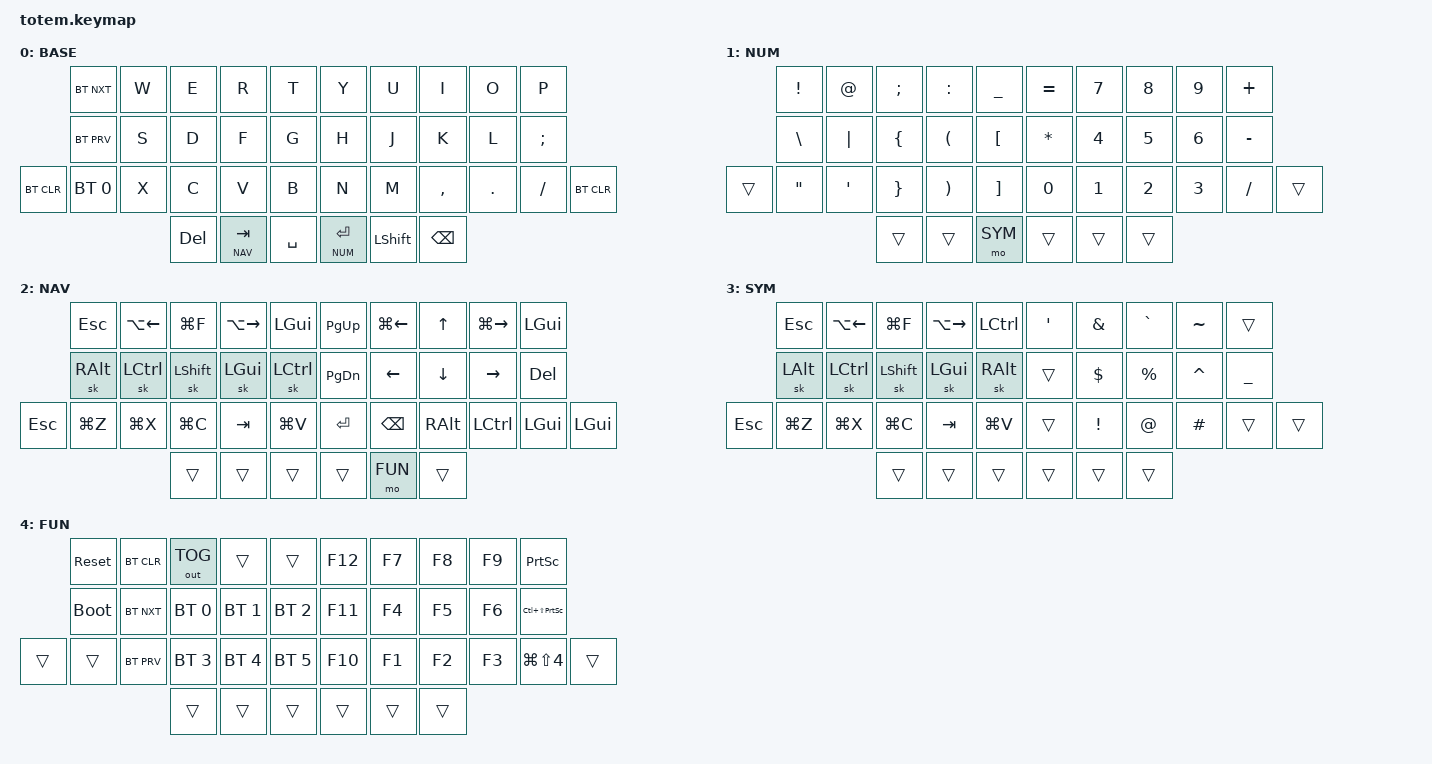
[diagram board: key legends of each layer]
//
//                                                        ▀▀▀▀▀     ▀▀▀▀▀          ▀▀█▀▀
//                                                        ▄▀▀▀▄  ▄  ▄▀▀▀▄  ▄  ▄▀▀▀▄  █  ▄▀▀▀▄
//                                                        █   █  █  █   █  █  █   █  █  █   █
//                                                         ▀▀▀   █   ▀▀▀   █   ▀▀▀   ▀   ▀▀▀
//                                                               █      ▄▄▄█▄▄▄    █   █  
//                                                               ▀      █  █  █     █▄█
//                                                             ▀▀▀▀▀    █  █  █      ▀
//                                                                      ▀  ▀  ▀
//
// ▄▄▄▄▄▄▄▄▄▄▄▄▄▄▄▄▄▄▄▄▄▄▄▄▄▄▄▄▄▄▄▄▄▄▄▄▄▄▄▄▄▄▄▄▄▄▄▄▄▄▄▄▄▄▄▄▄▄▄▄▄▄▄▄▄▄▄▄▄▄▄▄▄▄▄▄▄▄▄▄▄▄▄▄▄▄▄▄▄▄▄▄▄▄▄▄▄▄▄▄▄▄▄▄▄▄▄▄▄▄▄▄▄▄▄▄▄▄▄▄▄▄▄▄▄▄▄▄▄▄▄▄▄▄▄▄▄▄▄▄▄▄▄▄▄▄▄▄▄
       

#include <behaviors.dtsi>
#include <dt-bindings/zmk/keys.h>
#include <dt-bindings/zmk/bt.h>
#include <dt-bindings/zmk/outputs.h>

#define BASE 0
#define NUM  1
#define NAV  2
#define SYM  3
#define FUN  4

&mt {
  quick-tap-ms = <100>;
  global-quick-tap;
  flavor = "tap-preferred";
  tapping-term-ms = <170>;
};

/ {
    combos {
            compatible = "zmk,combos";
            combo_esc {
                timeout-ms = <50>;
                key-positions = <0 1>;
                bindings = <&kp ESC>;
            };
    };

    macros {
        gif: gif {
            label = "giphy";
            compatible = "zmk,behavior-macro";
            #binding-cells = <0>;
            bindings
                = <&macro_press &kp LSHFT>
                , <&macro_tap &kp N2>
                , <&macro_release &kp LSHFT>
                , <&macro_tap &kp G &kp I &kp F>
                ;
        };
    };

        keymap {
                compatible = "zmk,keymap";
// ▄▄▄▄▄▄▄▄▄▄▄▄▄▄▄▄▄▄▄▄▄▄▄▄▄▄▄▄▄▄▄▄▄▄▄▄▄▄▄▄▄▄▄▄▄▄▄▄▄▄▄▄▄▄▄▄▄▄▄▄▄▄▄▄▄▄▄▄▄▄▄▄▄▄▄▄▄▄▄▄▄▄▄▄▄▄▄▄▄▄▄▄▄▄▄▄▄▄▄▄▄▄▄▄▄▄▄▄▄▄▄▄▄▄▄▄▄▄▄▄▄▄▄▄▄▄▄▄▄▄▄▄▄▄▄▄▄▄▄▄▄▄▄▄▄▄▄▄▄

                base_layer {
// ┏━━━━━━━━━━━━━━━━━━━━━━━━━━━━━━━━━━━━━━━┓
label= "BASE"                              ;
// ┗━━━━━━━━━━━━━━━━━━━━━━━━━━━━━━━━━━━━━━━┛
//             ┏━━━━━━━━━━━┳━━━━━━━━━━━┳━━━━━━━━━━━┳━━━━━━━━━━━┳━━━━━━━━━━━┓   ┏━━━━━━━━━━━┳━━━━━━━━━━━┳━━━━━━━━━━━┳━━━━━━━━━━━┳━━━━━━━━━━━┓
//             ┃     Q     ┃     W     ┃     E     ┃     R     ┃     T     ┃   ┃     Y     ┃     U     ┃     I     ┃     O     ┃     P     ┃
//             ┣━━━━━━━━━━━╋━━━━━━━━━━━╋━━━━━━━━━━━╋━━━━━━━━━━━╋━━━━━━━━━━━┫   ┣━━━━━━━━━━━╋━━━━━━━━━━━╋━━━━━━━━━━━╋━━━━━━━━━━━╋━━━━━━━━━━━┫
//             ┃     A     ┃     S     ┃     D     ┃     F     ┃     G     ┃   ┃     H     ┃     J     ┃     K     ┃     L     ┃     ;     ┃
// ┏━━━━━━━━━━━╋━━━━━━━━━━━╋━━━━━━━━━━━╋━━━━━━━━━━━╋━━━━━━━━━━━╋━━━━━━━━━━━┫   ┣━━━━━━━━━━━╋━━━━━━━━━━━╋━━━━━━━━━━━╋━━━━━━━━━━━╋━━━━━━━━━━━╋━━━━━━━━━━━┓
// ┃     Q     ┃     Z     ┃     X     ┃     C     ┃     V     ┃     B     ┃   ┃     N     ┃     M     ┃     ,     ┃     .     ┃     /     ┃     \     ┃
// ┗━━━━━━━━━━━┻━━━━━━━━━━━┻━━━━━━━━━━━╋━━━━━━━━━━━╋━━━━━━━━━━━╋━━━━━━━━━━━┫   ┣━━━━━━━━━━━╋━━━━━━━━━━━╋━━━━━━━━━━━╋━━━━━━━━━━━┻━━━━━━━━━━━┻━━━━━━━━━━━┛
//                                     ┃    DEL    ┃    TAB    ┃    SPC    ┃   ┃   ENTER   ┃   SHIFT   ┃   BSPC    ┃
//                                     ┗━━━━━━━━━━━┻━━━━━━━━━━━┻━━━━━━━━━━━┛   ┗━━━━━━━━━━━┻━━━━━━━━━━━┻━━━━━━━━━━━┛
 bindings = <
// ╷           ╷           ╷           ╷           ╷           ╷           ╷   ╷           ╷           ╷           ╷           ╷           ╷           ╷

                &bt BT_NXT       &kp W       &kp E       &kp R       &kp T           &kp Y       &kp U       &kp I       &kp O       &kp P
                &bt BT_PRV       &kp S       &kp D       &kp F       &kp G           &kp H       &kp J       &kp K       &kp L       &kp SEMI
    &bt BT_CLR  &bt BT_SEL 0       &kp X       &kp C       &kp V       &kp B           &kp N       &kp M       &kp COMMA   &kp DOT     &kp FSLH    &bt BT_CLR
                                        &kp DEL   &lt NAV TAB   &kp SPACE       &lt NUM RET &kp LSHFT  &kp BSPC
                        >;
                };

// ▄▄▄▄▄▄▄▄▄▄▄▄▄▄▄▄▄▄▄▄▄▄▄▄▄▄▄▄▄▄▄▄▄▄▄▄▄▄▄▄▄▄▄▄▄▄▄▄▄▄▄▄▄▄▄▄▄▄▄▄▄▄▄▄▄▄▄▄▄▄▄▄▄▄▄▄▄▄▄▄▄▄▄▄▄▄▄▄▄▄▄▄▄▄▄▄▄▄▄▄▄▄▄▄▄▄▄▄▄▄▄▄▄▄▄▄▄▄▄▄▄▄▄▄▄▄▄▄▄▄▄▄▄▄▄▄▄▄▄▄▄▄▄▄▄▄▄▄▄


                num_layer {
// ┏━━━━━━━━━━━━━━━━━━━━━━━━━━━━━━━━━━━━━━━┓
label= "NUM"                               ;
// ┗━━━━━━━━━━━━━━━━━━━━━━━━━━━━━━━━━━━━━━━┛            
//             ┏━━━━━━━━━━━┳━━━━━━━━━━━┳━━━━━━━━━━━┳━━━━━━━━━━━┳━━━━━━━━━━━┓   ┏━━━━━━━━━━━┳━━━━━━━━━━━┳━━━━━━━━━━━┳━━━━━━━━━━━┳━━━━━━━━━━━┓
//             ┃     !     ┃     @     ┃     ;     ┃     :     ┃     _     ┃   ┃     =     ┃     7     ┃     8     ┃     9     ┃     +     ┃
//             ┣━━━━━━━━━━━╋━━━━━━━━━━━╋━━━━━━━━━━━╋━━━━━━━━━━━╋━━━━━━━━━━━┫   ┣━━━━━━━━━━━╋━━━━━━━━━━━╋━━━━━━━━━━━╋━━━━━━━━━━━╋━━━━━━━━━━━┫
//             ┃     \     ┃    |      ┃     {     ┃     (     ┃     [     ┃   ┃     *     ┃     4     ┃     5     ┃     6     ┃     -     ┃
// ┏━━━━━━━━━━━╋━━━━━━━━━━━╋━━━━━━━━━━━╋━━━━━━━━━━━╋━━━━━━━━━━━╋━━━━━━━━━━━┫   ┣━━━━━━━━━━━╋━━━━━━━━━━━╋━━━━━━━━━━━╋━━━━━━━━━━━╋━━━━━━━━━━━╋━━━━━━━━━━━┓
// ┃           ┃     "     ┃     '     ┃     }     ┃     )     ┃     ]     ┃   ┃     0     ┃     1     ┃     2     ┃     3     ┃     /     ┃           ┃
// ┗━━━━━━━━━━━┻━━━━━━━━━━━┻━━━━━━━━━━━╋━━━━━━━━━━━╋━━━━━━━━━━━╋━━━━━━━━━━━┫   ┣━━━━━━━━━━━╋━━━━━━━━━━━╋━━━━━━━━━━━╋━━━━━━━━━━━┻━━━━━━━━━━━┻━━━━━━━━━━━┛
//                                     ┃           ┃    TAB    ┃    SPC    ┃   ┃    DEL    ┃     0     ┃           ┃
//                                     ┗━━━━━━━━━━━┻━━━━━━━━━━━┻━━━━━━━━━━━┛   ┗━━━━━━━━━━━┻━━━━━━━━━━━┻━━━━━━━━━━━┛
 bindings = <
// ╷           ╷           ╷           ╷           ╷           ╷           ╷   ╷           ╷           ╷           ╷           ╷           ╷           ╷

                &kp EXCL    &kp AT      &kp SEMI    &kp COLON   &kp UNDER       &kp EQUAL   &kp    N7   &kp    N8   &kp    N9   &kp    PLUS
                &kp BSLH    &kp PIPE    &kp LBRC    &kp LPAR    &kp LBKT        &kp ASTRK   &kp N4      &kp    N5   &kp    N6   &kp    MINUS
    &trans      &kp DQT     &kp SQT     &kp RBRC    &kp RPAR    &kp RBKT        &kp N0      &kp N1      &kp N2      &kp N3   &kp FSLH       &trans  
                                        &trans      &trans      &mo SYM         &trans     &trans    &trans      
                        >;
                };

// ▄▄▄▄▄▄▄▄▄▄▄▄▄▄▄▄▄▄▄▄▄▄▄▄▄▄▄▄▄▄▄▄▄▄▄▄▄▄▄▄▄▄▄▄▄▄▄▄▄▄▄▄▄▄▄▄▄▄▄▄▄▄▄▄▄▄▄▄▄▄▄▄▄▄▄▄▄▄▄▄▄▄▄▄▄▄▄▄▄▄▄▄▄▄▄▄▄▄▄▄▄▄▄▄▄▄▄▄▄▄▄▄▄▄▄▄▄▄▄▄▄▄▄▄▄▄▄▄▄▄▄▄▄▄▄▄▄▄▄▄▄▄▄▄▄▄▄▄▄


                nav_layer {
// ┏━━━━━━━━━━━━━━━━━━━━━━━━━━━━━━━━━━━━━━━┓
label= "NAV"                               ;
// ┗━━━━━━━━━━━━━━━━━━━━━━━━━━━━━━━━━━━━━━━┛
//             ┏━━━━━━━━━━━┳━━━━━━━━━━━┳━━━━━━━━━━━┳━━━━━━━━━━━┳━━━━━━━━━━━┓   ┏━━━━━━━━━━━┳━━━━━━━━━━━┳━━━━━━━━━━━┳━━━━━━━━━━━┳━━━━━━━━━━━┓
//             ┃     ESC   ┃LAlt(left)  LGUI(F)    ┃LALT(riht) ┃   LGUI   ┃   ┃ PAGE UP   ┃     HOME  ┃   AR UP   ┃     END   ┃  LGUI     ┃
//             ┣━━━━━━━━━━━╋━━━━━━━━━━━╋━━━━━━━━━━━╋━━━━━━━━━━━╋━━━━━━━━━━━┫   ┣━━━━━━━━━━━╋━━━━━━━━━━━╋━━━━━━━━━━━╋━━━━━━━━━━━╋━━━━━━━━━━━┫
//             ┃OSM,LALT   ┃OSM,LCTRL   ┃OSM,LSHFT  ┃OSM,LGUI  ┃OSM,LCTRL   ┃   ┃page down  ┃ AR LEFT   ┃   AR DOWN ┃  AR RIGT  ┃ DELETE    ┃
// ┏━━━━━━━━━━━╋━━━━━━━━━━━╋━━━━━━━━━━━╋━━━━━━━━━━━╋━━━━━━━━━━━╋━━━━━━━━━━━┫   ┣━━━━━━━━━━━╋━━━━━━━━━━━╋━━━━━━━━━━━╋━━━━━━━━━━━╋━━━━━━━━━━━╋━━━━━━━━━━━┓
// ┃    ESC    ┃  LCTL,Z   ┃ LCTL,X    ┃ LCTL,C    ┃  TAB      ┃ LCTRL,V   ┃   ┃   enter   ┃  backspace┃  RCTRL    ┃    LALT   ┃  LGUI   ┃  LGUI     ┃
// ┗━━━━━━━━━━━┻━━━━━━━━━━━┻━━━━━━━━━━━╋━━━━━━━━━━━╋━━━━━━━━━━━╋━━━━━━━━━━━┫   ┣━━━━━━━━━━━╋━━━━━━━━━━━╋━━━━━━━━━━━╋━━━━━━━━━━━┻━━━━━━━━━━━┻━━━━━━━━━━━┛
//                                     ┃   trans   ┃ trans     ┃    trans  ┃   ┃    trans  ┃ LAYER?    ┃     trans ┃
//                                     ┗━━━━━━━━━━━┻━━━━━━━━━━━┻━━━━━━━━━━━┛   ┗━━━━━━━━━━━┻━━━━━━━━━━━┻━━━━━━━━━━━┛
 bindings = <
// ╷           ╷           ╷           ╷           ╷           ╷           ╷   ╷           ╷           ╷           ╷           ╷           ╷           ╷

                &kp ESC    &kp LA(LEFT) &kp LG(F) &kp LA(RIGHT) &kp LGUI        &kp PG_UP  &kp LG(LEFT) &kp UP      &kp LG(RIGHT)     &kp LGUI       
                &sk RALT   &sk LCTRL    &sk LSHFT   &sk LGUI   &sk LCTRL         &kp PG_DN   &kp LEFT    &kp DOWN    &kp RIGHT   &kp DEL 
    &kp ESC     &kp LG(Z)  &kp LG(X)   &kp LG(C)   &kp TAB     &kp LG(V)        &kp RET     &kp BSPC    &kp RALT   &kp LCTRL    &kp LGUI   &kp LGUI         
                                        &trans      &trans     &trans           &trans      &mo FUN     &trans      
                        >;
                };

// ▄▄▄▄▄▄▄▄▄▄▄▄▄▄▄▄▄▄▄▄▄▄▄▄▄▄▄▄▄▄▄▄▄▄▄▄▄▄▄▄▄▄▄▄▄▄▄▄▄▄▄▄▄▄▄▄▄▄▄▄▄▄▄▄▄▄▄▄▄▄▄▄▄▄▄▄▄▄▄▄▄▄▄▄▄▄▄▄▄▄▄▄▄▄▄▄▄▄▄▄▄▄▄▄▄▄▄▄▄▄▄▄▄▄▄▄▄▄▄▄▄▄▄▄▄▄▄▄▄▄▄▄▄▄▄▄▄▄▄▄▄▄▄▄▄▄▄▄▄


                symbols_layer {
// ┏━━━━━━━━━━━━━━━━━━━━━━━━━━━━━━━━━━━━━━━┓
label= "SYM"                               ;
// ┗━━━━━━━━━━━━━━━━━━━━━━━━━━━━━━━━━━━━━━━┛
//             ┏━━━━━━━━━━━┳━━━━━━━━━━━┳━━━━━━━━━━━┳━━━━━━━━━━━┳━━━━━━━━━━━┓   ┏━━━━━━━━━━━┳━━━━━━━━━━━┳━━━━━━━━━━━┳━━━━━━━━━━━┳━━━━━━━━━━━┓
//             ┃     ESC   ┃LAlt(left) ┃LCTL(F)    ┃LALT(riht) ┃   LCTRL   ┃   ┃ COMMA ,HEB┃     &     ┃   `       ┃     ~     ┃  trans    ┃
//             ┣━━━━━━━━━━━╋━━━━━━━━━━━╋━━━━━━━━━━━╋━━━━━━━━━━━╋━━━━━━━━━━━┫   ┣━━━━━━━━━━━╋━━━━━━━━━━━╋━━━━━━━━━━━╋━━━━━━━━━━━╋━━━━━━━━━━━┫
//             ┃OSM,LALT   ┃OSM,LGUI   ┃OSM,LSHFT  ┃OSM,LCTRL  ┃OSM,RALT   ┃   ┃   trans   ┃     $     ┃  %        ┃  ^        ┃underscore ┃
// ┏━━━━━━━━━━━╋━━━━━━━━━━━╋━━━━━━━━━━━╋━━━━━━━━━━━╋━━━━━━━━━━━╋━━━━━━━━━━━┫   ┣━━━━━━━━━━━╋━━━━━━━━━━━╋━━━━━━━━━━━╋━━━━━━━━━━━╋━━━━━━━━━━━╋━━━━━━━━━━━┓
// ┃    ESC    ┃  LCTL,Z   ┃ LCTL,X    ┃ LCTL,C    ┃  TAB      ┃ LCTRL,V   ┃   ┃   trans   ┃  !        ┃  @             ┃    #   ┃     trans ┃  trans    ┃
// ┗━━━━━━━━━━━┻━━━━━━━━━━━┻━━━━━━━━━━━╋━━━━━━━━━━━╋━━━━━━━━━━━╋━━━━━━━━━━━┫   ┣━━━━━━━━━━━╋━━━━━━━━━━━╋━━━━━━━━━━━╋━━━━━━━━━━━┻━━━━━━━━━━━┻━━━━━━━━━━━┛
//                                     ┃   trans   ┃ trans     ┃    trans  ┃   ┃    trans  ┃ trans     ┃     trans ┃
//                                     ┗━━━━━━━━━━━┻━━━━━━━━━━━┻━━━━━━━━━━━┛   ┗━━━━━━━━━━━┻━━━━━━━━━━━┻━━━━━━━━━━━┛
 bindings = <
// ╷           ╷           ╷           ╷           ╷           ╷           ╷   ╷           ╷           ╷           ╷           ╷           ╷           ╷

                &kp ESC    &kp LA(LEFT) &kp LG(F) &kp LA(RIGHT) &kp LCTRL       &kp SQT     &kp AMPS     &kp GRAVE    &kp TILDE   &trans       
                &sk LALT   &sk LCTRL    &sk LSHFT   &sk LGUI   &sk RALT         &trans      &kp DOLLAR   &kp PRCNT    &kp CARET   &kp UNDER 
    &kp ESC     &kp LG(Z)  &kp LG(X)   &kp LG(C)   &kp TAB     &kp LG(V)        &trans      &kp EXCL     &kp AT_SIGN  &kp POUND   &trans      &trans         
                                        &trans      &trans     &trans           &trans      &trans       &trans      
                        >;
                };

// ▄▄▄▄▄▄▄▄▄▄▄▄▄▄▄▄▄▄▄▄▄▄▄▄▄▄▄▄▄▄▄▄▄▄▄▄▄▄▄▄▄▄▄▄▄▄▄▄▄▄▄▄▄▄▄▄▄▄▄▄▄▄▄▄▄▄▄▄▄▄▄▄▄▄▄▄▄▄▄▄▄▄▄▄▄▄▄▄▄▄▄▄▄▄▄▄▄▄▄▄▄▄▄▄▄▄▄▄▄▄▄▄▄▄▄▄▄▄▄▄▄▄▄▄▄▄▄▄▄▄▄▄▄▄▄▄▄▄▄▄▄▄▄▄▄▄▄▄▄


                functions_and_controls_layer {
// ┏━━━━━━━━━━━━━━━━━━━━━━━━━━━━━━━━━━━━━━━┓
label= "FUN"                               ;
// ┗━━━━━━━━━━━━━━━━━━━━━━━━━━━━━━━━━━━━━━━┛
//             ┏━━━━━━━━━━━┳━━━━━━━━━━━┳━━━━━━━━━━━┳━━━━━━━━━━━┳━━━━━━━━━━━┓   ┏━━━━━━━━━━━┳━━━━━━━━━━━┳━━━━━━━━━━━┳━━━━━━━━━━━┳━━━━━━━━━━━┓
//             ┃   RESET   ┃ BT CLEAR  ┃  OUT TOG  ┃           ┃           ┃   ┃    F12    ┃    F7     ┃    F8     ┃    F9     ┃  PSCRN    ┃
//             ┣━━━━━━━━━━━╋━━━━━━━━━━━╋━━━━━━━━━━━╋━━━━━━━━━━━╋━━━━━━━━━━━┫   ┣━━━━━━━━━━━╋━━━━━━━━━━━╋━━━━━━━━━━━╋━━━━━━━━━━━╋━━━━━━━━━━━┫
//             ┃ BOOTLOAD  ┃ BT NEXT   ┃     BT 0  ┃    BT 1   ┃   BT 2    ┃   ┃   F11     ┃    F4     ┃    F5     ┃    F6     ┃  crop     ┃
// ┏━━━━━━━━━━━╋━━━━━━━━━━━╋━━━━━━━━━━━╋━━━━━━━━━━━╋━━━━━━━━━━━╋━━━━━━━━━━━┫   ┣━━━━━━━━━━━╋━━━━━━━━━━━╋━━━━━━━━━━━╋━━━━━━━━━━━╋━━━━━━━━━━━╋━━━━━━━━━━━┓
// ┃           ┃           ┃ BT PREV   ┃           ┃           ┃           ┃   ┃    F10    ┃    F1     ┃    F2     ┃    F3     ┃  mac crop ┃           ┃
// ┗━━━━━━━━━━━┻━━━━━━━━━━━┻━━━━━━━━━━━╋━━━━━━━━━━━╋━━━━━━━━━━━╋━━━━━━━━━━━┫   ┣━━━━━━━━━━━╋━━━━━━━━━━━╋━━━━━━━━━━━╋━━━━━━━━━━━┻━━━━━━━━━━━┻━━━━━━━━━━━┛
//                                     ┃           ┃           ┃           ┃   ┃           ┃           ┃           ┃
//                                     ┗━━━━━━━━━━━┻━━━━━━━━━━━┻━━━━━━━━━━━┛   ┗━━━━━━━━━━━┻━━━━━━━━━━━┻━━━━━━━━━━━┛
 bindings = <
// ╷           ╷           ╷           ╷           ╷           ╷           ╷   ╷           ╷           ╷           ╷           ╷           ╷           ╷

                &sys_reset  &bt BT_CLR &out OUT_TOG &trans      &trans          &kp F12     &kp F7      &kp F8      &kp F9      &kp PSCRN
                &bootloader &bt BT_NXT &bt BT_SEL 0 &bt BT_SEL 1 &bt BT_SEL 2   &kp F11     &kp F4      &kp F5      &kp F6      &kp LC(LS(PSCRN))  
    &trans      &trans      &bt BT_PRV &bt BT_SEL 3 &bt BT_SEL 4 &bt BT_SEL 5   &kp F10     &kp F1      &kp F2      &kp F3      &kp LG(LS(N4))      &trans         
                                        &trans      &trans      &trans          &trans      &trans      &trans      
                        >;
                };
        };
};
